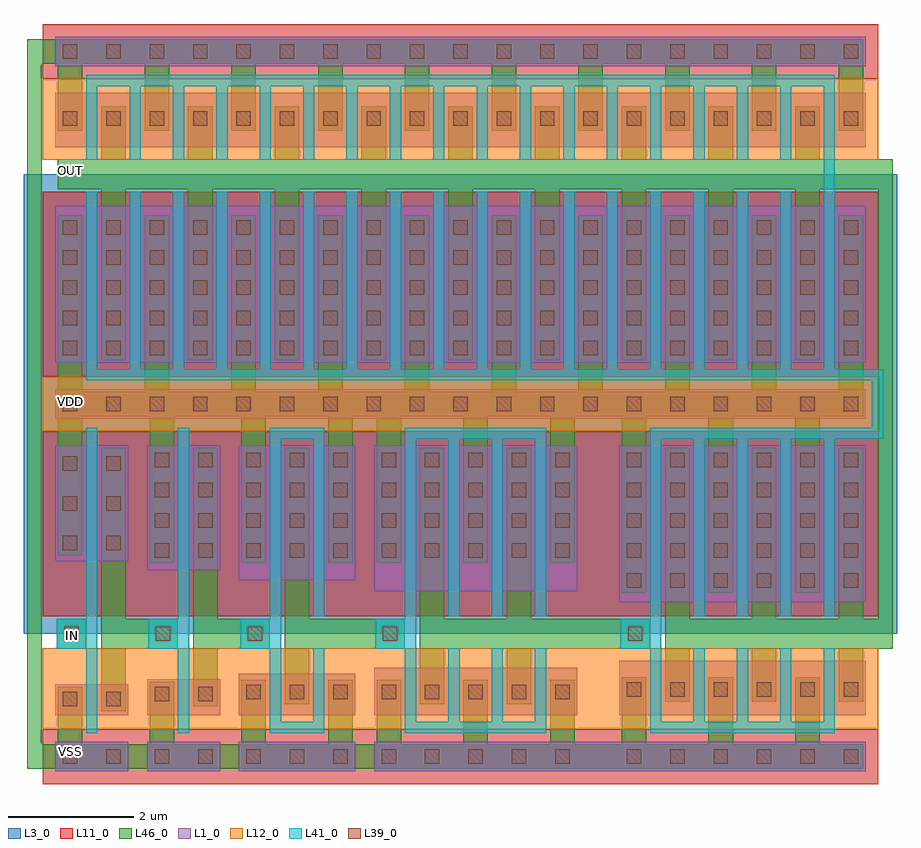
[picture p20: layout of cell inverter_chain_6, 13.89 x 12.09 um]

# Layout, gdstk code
import gdstk
lib = gdstk.Library(unit=1e-6, precision=1e-09)
def R(c, l, rs):  # rectangles x0, y0, x1, y1
    for r in rs: c.add(gdstk.rectangle(r[:2], r[2:], *l))
def A(c, l, x, y, w, h, nx, ny, dx, dy):  # array of equal rectangles
    R(c, l, [(x+i*dx, y+j*dy, x+i*dx+w, y+j*dy+h) for i in range(nx) for j in range(ny)])
L1_0 = (1, 0)
L3_0 = (3, 0)
L11_0 = (11, 0)
L12_0 = (12, 0)
L39_0 = (39, 0)
L41_0 = (41, 0)
L46_0 = (46, 0)

inverter_chain_6 = lib.new_cell('inverter_chain_6')
A(inverter_chain_6, L1_0, 2.61, 0.965, 1.85, 0.47, 7, 1, 1.38, 0)
A(inverter_chain_6, L1_0, 2.61, 1.855, 1.85, 2.5, 9, 1, 1.38, 0)
A(inverter_chain_6, L1_0, 2.61, 5.285, 1.85, 0.87, 9, 1, 1.38, 0)
A(inverter_chain_6, L1_0, 2.61, 6.575, 1.85, 0.47, 9, 1, 1.38, 0)
R(inverter_chain_6, L1_0, [(2.61,-4.645,3.77,-4.175), (4.07,-4.645,5.23,-4.175), (5.53,-4.645,7.38,-4.175), (7.68,-4.645,9.53,-4.175), (9.06,-4.645,10.91,-4.175), (10.89,-4.645,12.74,-4.175), (11.58,-4.645,13.43,-4.175), (12.96,-4.645,15.5,-4.175), (2.61,-3.755,3.77,-3.255), (4.07,-3.755,5.23,-3.175), (5.53,-3.755,7.38,-3.095), (7.68,-3.755,9.53,-2.995), (9.06,-3.755,10.91,-2.995), (11.58,-3.755,13.43,-2.885), (12.96,-3.755,15.5,-2.885), (11.58,-1.955,13.43,0.545), (12.96,-1.955,15.5,0.545), (7.68,-1.775,9.53,0.545), (9.06,-1.775,10.91,0.545), (5.53,-1.605,7.38,0.545), (4.07,-1.445,5.23,0.545), (2.61,-1.305,3.77,0.545), (11.58,0.965,13.43,1.435), (12.96,0.965,15.5,1.435)])
A(inverter_chain_6, L3_0, 2.11, -2.455, 2.85, 7.31, 9, 1, 1.38, 0)
A(inverter_chain_6, L11_0, 2.41, 1.635, 2.25, 2.94, 9, 1, 1.38, 0)
A(inverter_chain_6, L11_0, 2.41, 6.375, 2.25, 0.87, 9, 1, 1.38, 0)
R(inverter_chain_6, L11_0, [(2.41,-4.845,3.97,-3.975), (3.87,-4.845,5.43,-3.975), (5.33,-4.845,7.58,-3.975), (7.48,-4.845,9.73,-3.975), (8.86,-4.845,11.11,-3.975), (10.69,-4.845,12.94,-3.975), (11.38,-4.845,13.63,-3.975), (12.76,-4.845,15.01,-3.975), (15.01,-4.845,15.7,-3.975), (2.41,-2.175,3.97,0.765), (3.87,-2.175,5.43,0.765), (5.33,-2.175,7.58,0.765), (7.48,-2.175,9.73,0.765), (8.86,-2.175,11.11,0.765), (10.69,-2.175,12.94,0.765), (11.38,-2.175,13.63,0.765), (11.38,-2.175,15.7,0.765), (12.76,-2.175,15.01,0.765)])
A(inverter_chain_6, L12_0, 2.41, 0.765, 2.25, 0.87, 9, 1, 1.38, 0)
A(inverter_chain_6, L12_0, 2.41, 5.085, 2.25, 1.29, 9, 1, 1.38, 0)
R(inverter_chain_6, L12_0, [(2.41,-3.975,4.66,-2.685), (2.41,-3.975,3.97,-2.685), (3.87,-3.975,5.43,-2.685), (5.33,-3.975,7.58,-2.685), (7.48,-3.975,9.73,-2.685), (8.86,-3.975,11.11,-2.685), (11.11,-3.975,13.63,-2.685), (11.38,-3.975,15.7,-2.685), (12.76,-3.975,15.01,-2.685)])
A(inverter_chain_6, L39_0, 5.65, -4.525, 0.23, 0.23, 3, 2, 0.69, 1.03)
A(inverter_chain_6, L39_0, 7.8, -4.525, 0.23, 0.23, 5, 2, 0.69, 1.03)
A(inverter_chain_6, L39_0, 11.7, -4.525, 0.23, 0.23, 3, 2, 0.69, 1.07)
A(inverter_chain_6, L39_0, 13.08, -4.525, 0.23, 0.23, 3, 2, 0.69, 1.07)
A(inverter_chain_6, L39_0, 2.75, -2.57, 0.23, 0.23, 3, 1, 1.46, 0)
A(inverter_chain_6, L39_0, 11.7, -1.725, 0.23, 0.23, 3, 5, 0.69, 0.48)
A(inverter_chain_6, L39_0, 13.08, -1.725, 0.23, 0.23, 3, 5, 0.69, 0.48)
A(inverter_chain_6, L39_0, 14.46, -1.725, 0.23, 0.23, 1, 5, 0, 0.48)
A(inverter_chain_6, L39_0, 15.15, -1.725, 0.23, 0.23, 1, 5, 0, 0.48)
A(inverter_chain_6, L39_0, 4.19, -1.245, 0.23, 0.23, 1, 4, 0, 0.48)
A(inverter_chain_6, L39_0, 4.88, -1.245, 0.23, 0.23, 1, 4, 0, 0.48)
A(inverter_chain_6, L39_0, 5.65, -1.245, 0.23, 0.23, 3, 4, 0.69, 0.48)
A(inverter_chain_6, L39_0, 7.8, -1.245, 0.23, 0.23, 5, 4, 0.69, 0.48)
A(inverter_chain_6, L39_0, 2.73, -1.125, 0.23, 0.23, 1, 3, 0, 0.63)
A(inverter_chain_6, L39_0, 3.42, -1.125, 0.23, 0.23, 1, 3, 0, 0.63)
A(inverter_chain_6, L39_0, 2.73, 1.085, 0.23, 0.23, 3, 2, 0.69, 0.89)
A(inverter_chain_6, L39_0, 4.11, 1.085, 0.23, 0.23, 3, 2, 0.69, 0.89)
A(inverter_chain_6, L39_0, 5.49, 1.085, 0.23, 0.23, 3, 2, 0.69, 0.89)
A(inverter_chain_6, L39_0, 6.87, 1.085, 0.23, 0.23, 3, 2, 0.69, 0.89)
A(inverter_chain_6, L39_0, 8.25, 1.085, 0.23, 0.23, 3, 2, 0.69, 0.89)
A(inverter_chain_6, L39_0, 9.63, 1.085, 0.23, 0.23, 3, 2, 0.69, 0.89)
A(inverter_chain_6, L39_0, 11.7, 1.085, 0.23, 0.23, 3, 1, 0.69, 0)
A(inverter_chain_6, L39_0, 13.08, 1.085, 0.23, 0.23, 3, 1, 0.69, 0)
A(inverter_chain_6, L39_0, 11.01, 1.975, 0.23, 0.23, 3, 5, 0.69, 0.48)
A(inverter_chain_6, L39_0, 12.39, 1.975, 0.23, 0.23, 3, 5, 0.69, 0.48)
A(inverter_chain_6, L39_0, 13.77, 1.975, 0.23, 0.23, 3, 5, 0.69, 0.48)
A(inverter_chain_6, L39_0, 2.73, 2.455, 0.23, 0.23, 3, 4, 0.69, 0.48)
A(inverter_chain_6, L39_0, 4.11, 2.455, 0.23, 0.23, 3, 4, 0.69, 0.48)
A(inverter_chain_6, L39_0, 5.49, 2.455, 0.23, 0.23, 3, 4, 0.69, 0.48)
A(inverter_chain_6, L39_0, 6.87, 2.455, 0.23, 0.23, 3, 4, 0.69, 0.48)
A(inverter_chain_6, L39_0, 8.25, 2.455, 0.23, 0.23, 3, 4, 0.69, 0.48)
A(inverter_chain_6, L39_0, 9.63, 2.455, 0.23, 0.23, 3, 4, 0.69, 0.48)
A(inverter_chain_6, L39_0, 2.73, 5.625, 0.23, 0.23, 3, 2, 0.69, 1.07)
A(inverter_chain_6, L39_0, 4.11, 5.625, 0.23, 0.23, 3, 2, 0.69, 1.07)
A(inverter_chain_6, L39_0, 5.49, 5.625, 0.23, 0.23, 3, 2, 0.69, 1.07)
A(inverter_chain_6, L39_0, 6.87, 5.625, 0.23, 0.23, 3, 2, 0.69, 1.07)
A(inverter_chain_6, L39_0, 8.25, 5.625, 0.23, 0.23, 3, 2, 0.69, 1.07)
A(inverter_chain_6, L39_0, 9.63, 5.625, 0.23, 0.23, 3, 2, 0.69, 1.07)
A(inverter_chain_6, L39_0, 11.01, 5.625, 0.23, 0.23, 3, 2, 0.69, 1.07)
A(inverter_chain_6, L39_0, 12.39, 5.625, 0.23, 0.23, 3, 2, 0.69, 1.07)
A(inverter_chain_6, L39_0, 13.77, 5.625, 0.23, 0.23, 3, 2, 0.69, 1.07)
R(inverter_chain_6, L39_0, [(2.73,-4.525,2.96,-4.295), (3.42,-4.525,3.65,-4.295), (4.19,-4.525,4.42,-4.295), (4.88,-4.525,5.11,-4.295), (14.46,-4.525,14.69,-4.295), (15.15,-4.525,15.38,-4.295), (2.73,-3.605,2.96,-3.375), (3.42,-3.605,3.65,-3.375), (4.19,-3.525,4.42,-3.295), (4.88,-3.525,5.11,-3.295), (14.46,-3.455,14.69,-3.225), (15.15,-3.455,15.38,-3.225), (7.82,-2.57,8.05,-2.34), (11.72,-2.57,11.95,-2.34), (11.01,1.085,11.24,1.315), (11.7,1.085,11.93,1.315), (14.46,1.085,14.69,1.315), (15.15,1.085,15.38,1.315)])
A(inverter_chain_6, L41_0, 3.1, -4.035, 0.18, 4.86, 3, 1, 1.46, 0)
A(inverter_chain_6, L41_0, 8.86, -4.035, 0.18, 1.35, 3, 1, 0.69, 0)
A(inverter_chain_6, L41_0, 12.76, -4.035, 0.18, 1.35, 4, 1, 0.69, 0)
A(inverter_chain_6, L41_0, 2.63, -2.69, 0.47, 0.47, 3, 1, 1.46, 0)
A(inverter_chain_6, L41_0, 8.86, -2.175, 0.18, 3, 3, 1, 0.69, 0)
A(inverter_chain_6, L41_0, 12.76, -2.175, 0.18, 3, 4, 1, 0.69, 0)
A(inverter_chain_6, L41_0, 3.1, 1.575, 0.87, 0.18, 8, 1, 1.38, 0)
A(inverter_chain_6, L41_0, 3.1, 1.575, 0.18, 3, 17, 1, 0.69, 0)
A(inverter_chain_6, L41_0, 3.1, 5.085, 0.18, 1.35, 17, 1, 0.69, 0)
A(inverter_chain_6, L41_0, 4.48, 6.255, 0.87, 0.18, 8, 1, 1.38, 0)
R(inverter_chain_6, L41_0, [(6.02,-4.035,6.89,-3.855), (6.71,-4.035,6.89,-2.685), (8.17,-4.035,8.35,0.825), (8.17,-4.035,10.42,-3.855), (9.55,-4.035,10.42,-3.855), (12.07,-4.035,12.94,-3.855), (12.07,-4.035,15.01,-3.855), (12.07,-4.035,12.25,0.825), (7.7,-2.69,8.17,-2.22), (11.6,-2.69,12.07,-2.22), (6.71,-2.175,6.89,0.825), (6.02,0.645,6.89,0.825), (8.17,0.645,10.42,0.825), (9.55,0.645,10.42,0.825), (12.07,0.645,15.78,0.825), (15.6,0.645,15.78,1.755), (3.1,1.575,15.78,1.755), (14.83,1.575,15.01,6.435), (3.1,6.255,15.01,6.435)])
A(inverter_chain_6, L46_0, 7.72, -4.605, 0.39, 1.42, 3, 1, 1.38, 0)
A(inverter_chain_6, L46_0, 12.31, -3.535, 0.39, 4.04, 3, 1, 1.38, 0)
A(inverter_chain_6, L46_0, 7.72, -1.325, 0.39, 2.72, 3, 1, 1.38, 0)
A(inverter_chain_6, L46_0, 2.65, 1.005, 1.77, 0.39, 7, 1, 1.38, 0)
A(inverter_chain_6, L46_0, 3.34, 1.895, 0.39, 4.04, 9, 1, 1.38, 0)
A(inverter_chain_6, L46_0, 4.03, 6.615, 1.77, 0.39, 8, 1, 1.38, 0)
R(inverter_chain_6, L46_0, [(2.16,-4.605,3.73,-4.215), (2.16,-4.605,2.39,7.005), (2.65,-4.605,12.7,-4.215), (2.65,-4.605,3.04,-3.295), (4.11,-4.605,5.19,-4.215), (4.11,-4.605,4.5,-3.215), (5.57,-4.605,7.34,-4.215), (5.57,-4.605,5.96,-3.185), (6.95,-4.605,7.34,-3.185), (7.72,-4.605,9.49,-4.215), (9.1,-4.605,10.87,-4.215), (11.62,-4.605,13.39,-4.215), (11.62,-4.605,12.01,-3.145), (13,-4.605,13.39,-3.145), (13,-4.605,13.39,-3.145), (13,-4.605,15.46,-4.215), (14.38,-4.605,14.77,-3.145), (14.38,-4.605,14.77,-3.145), (3.34,-3.685,3.73,0.505), (4.8,-3.605,5.19,0.505), (6.26,-3.575,6.65,0.505), (8.41,-3.575,8.8,0.505), (9.79,-3.575,10.18,0.505), (2.63,-2.69,3.1,-2.22), (3.34,-2.69,4.56,-2.22), (4.8,-2.69,6.02,-2.22), (6.26,-2.69,8.17,-2.22), (8.41,-2.69,12.07,-2.22), (12.31,-2.69,15.93,-2.22), (15.7,-2.69,15.93,5.09), (11.62,-1.805,12.01,1.395), (13,-1.805,13.39,1.395), (13,-1.805,13.39,1.395), (14.38,-1.805,14.77,1.395), (14.38,-1.805,14.77,1.395), (4.11,-1.325,4.5,1.395), (5.57,-1.325,5.96,1.395), (6.95,-1.325,7.34,1.395), (2.65,-1.205,3.04,1.395), (2.65,1.005,3.04,4.205), (4.03,1.005,4.42,4.205), (4.03,1.005,4.42,4.205), (5.41,1.005,5.8,4.205), (5.41,1.005,5.8,4.205), (6.79,1.005,7.18,4.205), (6.79,1.005,7.18,4.205), (8.17,1.005,8.56,4.205), (8.17,1.005,8.56,4.205), (9.55,1.005,9.94,4.205), (9.55,1.005,9.94,4.205), (10.93,1.005,11.32,4.205), (10.93,1.005,11.32,4.205), (11.62,1.005,13.39,1.395), (12.31,1.005,12.7,4.205), (12.31,1.005,12.7,4.205), (13,1.005,15.46,1.395), (13.69,1.005,14.08,4.205), (13.69,1.005,14.08,4.205), (15.07,1.005,15.46,4.205), (2.65,4.62,15.93,5.09), (2.65,5.545,3.04,7.005), (4.03,5.545,4.42,7.005), (4.03,5.545,4.42,7.005), (5.41,5.545,5.8,7.005), (5.41,5.545,5.8,7.005), (6.79,5.545,7.18,7.005), (6.79,5.545,7.18,7.005), (8.17,5.545,8.56,7.005), (8.17,5.545,8.56,7.005), (9.55,5.545,9.94,7.005), (9.55,5.545,9.94,7.005), (10.93,5.545,11.32,7.005), (10.93,5.545,11.32,7.005), (12.31,5.545,12.7,7.005), (12.31,5.545,12.7,7.005), (13.69,5.545,14.08,7.005), (13.69,5.545,14.08,7.005), (15.07,5.545,15.46,7.005), (2.16,6.615,4.42,7.005)])
inverter_chain_6.add(gdstk.Label('IN', (2.885,-2.475), layer=101, texttype=0))
inverter_chain_6.add(gdstk.Label('OUT', (2.855,4.91), layer=101, texttype=0))
inverter_chain_6.add(gdstk.Label('VDD', (2.855,1.235), layer=101, texttype=0))
inverter_chain_6.add(gdstk.Label('VSS', (2.855,-4.33), layer=101, texttype=0))

lib.write_gds('inverter_chain_6.gds')
